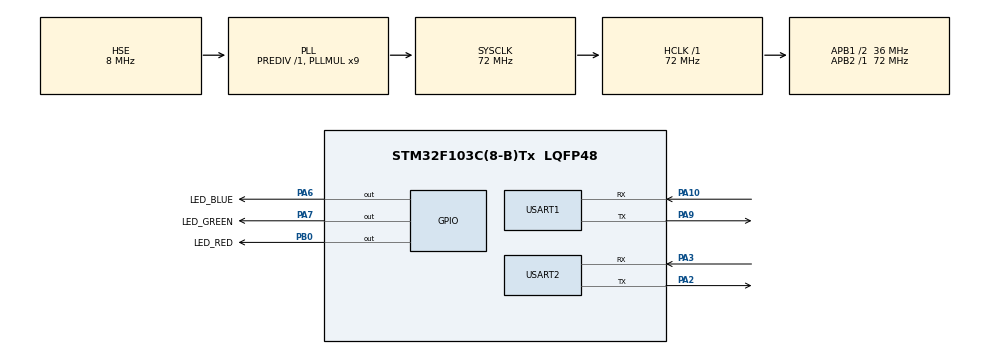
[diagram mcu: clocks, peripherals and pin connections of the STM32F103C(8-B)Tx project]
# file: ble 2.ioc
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Dma.Request0=USART1_TX
Dma.Request1=USART1_RX
Dma.USART1_RX.1.Direction=DMA_PERIPH_TO_MEMORY
Dma.USART1_RX.1.Instance=DMA1_Channel5
Dma.USART1_RX.1.MemDataAlignment=DMA_MDATAALIGN_BYTE
Dma.USART1_RX.1.MemInc=DMA_MINC_ENABLE
Dma.USART1_RX.1.Mode=DMA_NORMAL
Dma.USART1_RX.1.PeriphDataAlignment=DMA_PDATAALIGN_BYTE
Dma.USART1_RX.1.PeriphInc=DMA_PINC_DISABLE
Dma.USART1_RX.1.Priority=DMA_PRIORITY_LOW
Dma.USART1_TX.0.Direction=DMA_MEMORY_TO_PERIPH
Dma.USART1_TX.0.Instance=DMA1_Channel4
Dma.USART1_TX.0.MemDataAlignment=DMA_MDATAALIGN_BYTE
Dma.USART1_TX.0.MemInc=DMA_MINC_ENABLE
Dma.USART1_TX.0.Mode=DMA_NORMAL
Dma.USART1_TX.0.PeriphDataAlignment=DMA_PDATAALIGN_BYTE
Dma.USART1_TX.0.PeriphInc=DMA_PINC_DISABLE
Dma.USART1_TX.0.Priority=DMA_PRIORITY_LOW
Mcu.Family=STM32F1
Mcu.Name=STM32F103C(8-B)Tx
Mcu.Package=LQFP48
NVIC.DMA1_Channel4_IRQn=true\:0\:0\:false\:false\:true\:false\:true\:true
NVIC.DMA1_Channel5_IRQn=true\:0\:0\:false\:false\:true\:false\:true\:true
NVIC.PriorityGroup=NVIC_PRIORITYGROUP_4
NVIC.USART1_IRQn=true\:0\:0\:false\:false\:true\:false\:true\:true
PA10.Mode=Asynchronous
PA10.Signal=USART1_RX
PA13.Mode=Serial_Wire
PA13.Signal=SYS_JTMS-SWDIO
PA14.Mode=Serial_Wire
PA14.Signal=SYS_JTCK-SWCLK
PA2.Mode=Asynchronous
PA2.Signal=USART2_TX
PA3.Mode=Asynchronous
PA3.Signal=USART2_RX
PA6.GPIO_Label=LED_BLUE
PA6.Signal=GPIO_Output
PA7.GPIO_Label=LED_GREEN
PA7.Signal=GPIO_Output
PA9.Mode=Asynchronous
PA9.Signal=USART1_TX
PB0.GPIO_Label=LED_RED
PB0.Signal=GPIO_Output
PC14-OSC32_IN.Mode=LSE-External-Oscillator
PC14-OSC32_IN.Signal=RCC_OSC32_IN
PC15-OSC32_OUT.Mode=LSE-External-Oscillator
PC15-OSC32_OUT.Signal=RCC_OSC32_OUT
PD0-OSC_IN.Mode=HSE-External-Oscillator
PD0-OSC_IN.Signal=RCC_OSC_IN
PD1-OSC_OUT.Mode=HSE-External-Oscillator
PD1-OSC_OUT.Signal=RCC_OSC_OUT
ProjectManager.HeapSize=0x200
ProjectManager.StackSize=0x400
ProjectManager.TargetToolchain=MDK-ARM V5.32
RCC.AHBFreq_Value=72000000
RCC.APB1CLKDivider=RCC_HCLK_DIV2
RCC.APB1Freq_Value=36000000
RCC.APB1TimFreq_Value=72000000
RCC.APB2Freq_Value=72000000
RCC.APB2TimFreq_Value=72000000
RCC.HCLKFreq_Value=72000000
RCC.PLLMUL=RCC_PLL_MUL9
RCC.PLLSourceVirtual=RCC_PLLSOURCE_HSE
RCC.SYSCLKFreq_VALUE=72000000
RCC.SYSCLKSource=RCC_SYSCLKSOURCE_PLLCLK
RCC.USBFreq_Value=72000000
USART1.VirtualMode=VM_ASYNC
USART2.VirtualMode=VM_ASYNC
board=custom

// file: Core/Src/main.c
/* USER CODE BEGIN Header */
/**
  ******************************************************************************
  * @file           : main.c
  * @brief          : Main program body
  ******************************************************************************
  * @attention
  *
  * Copyright (c) 2026 STMicroelectronics.
  * All rights reserved.
  *
  * This software is licensed under terms that can be found in the LICENSE file
  * in the root directory of this software component.
  * If no LICENSE file comes with this software, it is provided AS-IS.
  *
  ******************************************************************************
  */
/* USER CODE END Header */
#include "main.h"
#include "dma.h"
#include "usart.h"
#include "gpio.h"

/* USER CODE BEGIN Includes */
#include <stdint.h>
#include <string.h>

extern UART_HandleTypeDef huart1;
extern DMA_HandleTypeDef hdma_usart1_rx;
/* USER CODE END Includes */

/* USER CODE BEGIN PD */
// 协议定义
#define CMD_HEADER     0xAA
#define CMD_LED_RED    0x01
#define CMD_LED_GREEN  0x02
#define CMD_LED_BLUE   0x03
/* USER CODE END PD */

/* USER CODE BEGIN PV */
// 接收缓冲�?
uint8_t receiveData[256];
uint8_t txData[256];
/* USER CODE END PV */

void SystemClock_Config(void);

/* USER CODE BEGIN 0 */

/**
 * @brief UART空闲中断回调函数 - 处理�?帧完整数�?
 * @param huart UART句柄
 * @param Size 接收到的数据长度
 */
void HAL_UARTEx_RxEventCallback(UART_HandleTypeDef *huart, uint16_t Size)
{
    if (huart == &huart1) {
        // 回显接收到的数据（调试用�?
        HAL_UART_Transmit_DMA(&huart1, receiveData, Size);

        // �?查帧�?
        if (receiveData[0] == CMD_HEADER) {
            // �?查长度字节（�?2个字节应等于总长度）
            if (receiveData[1] == Size) {
                // 计算校验和（除最后一个字节外的所有字节之和）
                uint8_t sum = 0;
                for (int i = 0; i < Size - 1; i++) {
                    sum += receiveData[i];
                }

                // 校验和验�?
                if (sum == receiveData[Size - 1]) {
                    // 解析数据：从索引2�?始，每两个字节为�?�? [引脚ID, 状�?�]
                    for (int i = 2; i < Size - 1; i += 2) {
                        uint8_t pinId = receiveData[i];
                        uint8_t pinState = receiveData[i + 1];

                        // 转换状�?��??
                        GPIO_PinState state = (pinState == 0x00) ? GPIO_PIN_RESET : GPIO_PIN_SET;

                        // 根据引脚ID控制对应LED
                        // 如果 LED_xxx 未定义，请改为直接端口操�?
                        switch (pinId) {
                            case CMD_LED_RED:
                                HAL_GPIO_WritePin(GPIOB, GPIO_PIN_0, state);
                                break;
                            case CMD_LED_GREEN:
                                HAL_GPIO_WritePin(GPIOA, GPIO_PIN_7, state);
                                break;
                            case CMD_LED_BLUE:
                                HAL_GPIO_WritePin(GPIOA, GPIO_PIN_6, state);
                                break;
                            default:
                                break;
                        }
                    }
                }
            }
        }

        // 重新启动DMA接收（等待下�?帧数据）
        HAL_UARTEx_ReceiveToIdle_DMA(&huart1, receiveData, sizeof(receiveData));
        // 禁用DMA半满中断（避免不必要的回调）
        __HAL_DMA_DISABLE_IT(&hdma_usart1_rx, DMA_IT_HT);
    }
}
/* USER CODE END 0 */

int main(void)
{

  /* MCU Configuration--------------------------------------------------------*/

  /* Reset of all peripherals, Initializes the Flash interface and the Systick. */
  HAL_Init();

  /* Configure the system clock */
  SystemClock_Config();

  /* Initialize all configured peripherals */
  MX_GPIO_Init();
  MX_DMA_Init();
  MX_USART1_UART_Init();
  MX_USART2_UART_Init();
  /* USER CODE BEGIN 2 */
    // 启动DMA空闲中断接收
    HAL_UARTEx_ReceiveToIdle_DMA(&huart1, receiveData, sizeof(receiveData));
    // 禁用DMA半满中断
    __HAL_DMA_DISABLE_IT(&hdma_usart1_rx, DMA_IT_HT);
  /* USER CODE END 2 */

  /* Infinite loop */
    while (1)
    {

    }
}

void SystemClock_Config(void)
{
  RCC_OscInitTypeDef RCC_OscInitStruct = {0};
  RCC_ClkInitTypeDef RCC_ClkInitStruct = {0};

  /** Initializes the RCC Oscillators according to the specified parameters
  * in the RCC_OscInitTypeDef structure.
  */
  RCC_OscInitStruct.OscillatorType = RCC_OSCILLATORTYPE_HSE;
  RCC_OscInitStruct.HSEState = RCC_HSE_ON;
  RCC_OscInitStruct.HSEPredivValue = RCC_HSE_PREDIV_DIV1;
  RCC_OscInitStruct.HSIState = RCC_HSI_ON;
  RCC_OscInitStruct.PLL.PLLState = RCC_PLL_ON;
  RCC_OscInitStruct.PLL.PLLSource = RCC_PLLSOURCE_HSE;
  RCC_OscInitStruct.PLL.PLLMUL = RCC_PLL_MUL9;
  if (HAL_RCC_OscConfig(&RCC_OscInitStruct) != HAL_OK)
  {
    Error_Handler();
  }

  /** Initializes the CPU, AHB and APB buses clocks
  */
  RCC_ClkInitStruct.ClockType = RCC_CLOCKTYPE_HCLK|RCC_CLOCKTYPE_SYSCLK
                              |RCC_CLOCKTYPE_PCLK1|RCC_CLOCKTYPE_PCLK2;
  RCC_ClkInitStruct.SYSCLKSource = RCC_SYSCLKSOURCE_PLLCLK;
  RCC_ClkInitStruct.AHBCLKDivider = RCC_SYSCLK_DIV1;
  RCC_ClkInitStruct.APB1CLKDivider = RCC_HCLK_DIV2;
  RCC_ClkInitStruct.APB2CLKDivider = RCC_HCLK_DIV1;

  if (HAL_RCC_ClockConfig(&RCC_ClkInitStruct, FLASH_LATENCY_2) != HAL_OK)
  {
    Error_Handler();
  }
}

/* USER CODE BEGIN 4 */
/**
  * @brief  This function is executed in case of error occurrence.
  * @retval None
  */
void Error_Handler(void)
{
    /* User can add his own implementation to report the HAL error return state */
    __disable_irq();
    while (1)
    {
        /* 可以添加 LED 闪烁等错误指�? */
    }
}
/* USER CODE END 4 */
